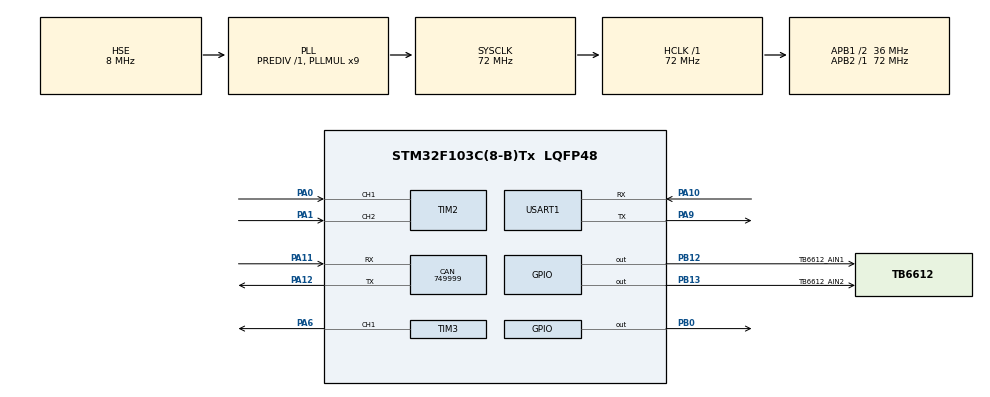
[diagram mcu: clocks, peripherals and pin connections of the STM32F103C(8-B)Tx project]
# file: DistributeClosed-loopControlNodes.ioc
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CAN.CalculateBaudRate=749999
CAN.CalculateTimeBit=1333
CAN.CalculateTimeQuantum=444.44444444444446
Mcu.Family=STM32F1
Mcu.Name=STM32F103C(8-B)Tx
Mcu.Package=LQFP48
NVIC.PriorityGroup=NVIC_PRIORITYGROUP_4
NVIC.USART1_IRQn=true\:0\:0\:false\:false\:true\:true\:true\:true
PA0-WKUP.GPIO_PuPd=GPIO_PULLUP
PA0-WKUP.Signal=S_TIM2_CH1_ETR
PA1.GPIO_PuPd=GPIO_PULLUP
PA1.Signal=S_TIM2_CH2
PA10.Mode=Asynchronous
PA10.Signal=USART1_RX
PA11.Mode=CAN_Activate
PA11.Signal=CAN_RX
PA12.Mode=CAN_Activate
PA12.Signal=CAN_TX
PA13.Mode=Serial_Wire
PA13.Signal=SYS_JTMS-SWDIO
PA14.Mode=Serial_Wire
PA14.Signal=SYS_JTCK-SWCLK
PA6.Signal=S_TIM3_CH1
PA9.Mode=Asynchronous
PA9.Signal=USART1_TX
PB0.Signal=GPIO_Output
PB12.GPIO_Label=TB6612_AIN1
PB12.Signal=GPIO_Output
PB13.GPIO_Label=TB6612_AIN2
PB13.Signal=GPIO_Output
PD0-OSC_IN.Mode=HSE-External-Oscillator
PD0-OSC_IN.Signal=RCC_OSC_IN
PD1-OSC_OUT.Mode=HSE-External-Oscillator
PD1-OSC_OUT.Signal=RCC_OSC_OUT
ProjectManager.HeapSize=0x200
ProjectManager.StackSize=0x400
ProjectManager.TargetToolchain=MDK-ARM V5.32
RCC.AHBFreq_Value=72000000
RCC.APB1CLKDivider=RCC_HCLK_DIV2
RCC.APB1Freq_Value=36000000
RCC.APB1TimFreq_Value=72000000
RCC.APB2Freq_Value=72000000
RCC.APB2TimFreq_Value=72000000
RCC.HCLKFreq_Value=72000000
RCC.PLLMUL=RCC_PLL_MUL9
RCC.PLLSourceVirtual=RCC_PLLSOURCE_HSE
RCC.SYSCLKFreq_VALUE=72000000
RCC.SYSCLKSource=RCC_SYSCLKSOURCE_PLLCLK
RCC.USBFreq_Value=72000000
SH.S_TIM2_CH1_ETR.0=TIM2_CH1,Encoder_Interface
SH.S_TIM2_CH2.0=TIM2_CH2,Encoder_Interface
SH.S_TIM3_CH1.0=TIM3_CH1,PWM Generation1 CH1
TIM2.EncoderMode=TIM_ENCODERMODE_TI12
TIM2.IC1Filter=6
TIM2.IC2Filter=10
TIM3.AutoReloadPreload=TIM_AUTORELOAD_PRELOAD_ENABLE
TIM3.Channel-PWM\ Generation1\ CH1=TIM_CHANNEL_1
TIM3.Period=1799
TIM3.Prescaler=3
USART1.VirtualMode=VM_ASYNC
VP_TIM3_VS_ClockSourceINT.Mode=Internal
board=custom

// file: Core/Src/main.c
/* USER CODE BEGIN Header */
/**
  ******************************************************************************
  * @file           : main.c
  * @brief          : Main program body
  ******************************************************************************
  * @attention
  *
  * Copyright (c) 2026 STMicroelectronics.
  * All rights reserved.
  *
  * This software is licensed under terms that can be found in the LICENSE file
  * in the root directory of this software component.
  * If no LICENSE file comes with this software, it is provided AS-IS.
  *
  ******************************************************************************
  */
/* USER CODE END Header */
#include "main.h"
#include "can.h"
#include "tim.h"
#include "usart.h"
#include "gpio.h"

/* USER CODE BEGIN Includes */
#include <stdio.h>
#include "pid.h"
#include "encoder.h"
/* USER CODE END Includes */

/* USER CODE BEGIN PV */

PID_InitTypeDef hpid = {0};

uint8_t Rx_byte;
char Rx_USART1_cmd[25];
uint8_t Rx_str_index = 0;
float target_speed = 0.0f;
int8_t NewCmd_flag = 0;
float temp_kp = 0.0f;
float temp_ki = 0.0f;
float temp_kd = 0.0f;

/* USER CODE END PV */

void SystemClock_Config(void);
/* USER CODE BEGIN PFP */

void App_OnBoardLED_Init(void);
void HAL_UART_RxCpltCallback(UART_HandleTypeDef *huart);

/* USER CODE END PFP */

/* USER CODE BEGIN 0 */

// printf函数重定向
int fputc(int ch, FILE *f)
{
	HAL_UART_Transmit(&huart1, (uint8_t *)&ch, 1, HAL_MAX_DELAY);
	return ch;
}

/* USER CODE END 0 */

int main(void)
{

  /* MCU Configuration--------------------------------------------------------*/

  /* Reset of all peripherals, Initializes the Flash interface and the Systick. */
  HAL_Init();

  /* Configure the system clock */
  SystemClock_Config();

  /* Initialize all configured peripherals */
  MX_GPIO_Init();
  MX_TIM2_Init();
  MX_TIM3_Init();
  MX_USART1_UART_Init();
  MX_CAN_Init();
  /* USER CODE BEGIN 2 */
	App_OnBoardLED_Init();
	PID_Init(&hpid);
	HAL_TIM_PWM_Start(&htim3, TIM_CHANNEL_1);
	HAL_TIM_Encoder_Start(&htim2, TIM_CHANNEL_ALL);
  /* USER CODE END 2 */

  /* Infinite loop */
  /* USER CODE BEGIN WHILE */
	HAL_UART_Receive_IT(&huart1, &Rx_byte, 1);
	printf("#SYSTEM IS READY\r\nSet target speed need print:SET [target speed]\r\nSet PID need print:KP [Kp] KI [Ki] KD [Kd]\r\n");
	uint32_t last_time = 0;
  while (1)
  {
		/* 采样周期 */
		if(HAL_GetTick() - last_time >= (uint32_t)TIME_SIMPLE)
		{
			// #0.更新last_time
			last_time = HAL_GetTick();

			// #1.由编码器得到当前速度
			float current_speed = GetCurrent_Speed(4, 11, 103);

			// #2.更新当前速度
			PID_UpdateCurrent_Speed(&hpid, current_speed);
			printf("%.2f,%.2f\r\n", hpid.Current_Speed, hpid.Target_Speed);

			/* 可以加一个低通滤波 */

			// #3.主控板是否发送新命令（中断）
			if(NewCmd_flag == 1)
			{
				PID_SetTarget_Speed(&hpid, target_speed);
				printf("#TARGET SPEED SET SUCCESS.\r\n");
				NewCmd_flag = 0;
			}
			else if(NewCmd_flag == 2)
			{
				PID_SetPID(&hpid, temp_kp, temp_ki, temp_kd);
				printf("#PID SET SUCCESS.\r\n");
				NewCmd_flag = 0;
			}
			else if(NewCmd_flag == -1)
			{
				printf("#ERROR!\r\n");
				NewCmd_flag = 0;
			}

			// #4.计算PWM,，判断是否需要改变电机方向
			int16_t PWM = PID_Calc(&hpid);

			if(PWM >= 0.0f)
			{
				HAL_GPIO_WritePin(GPIOB, GPIO_PIN_12, GPIO_PIN_SET);
				HAL_GPIO_WritePin(GPIOB, GPIO_PIN_13, GPIO_PIN_RESET);
				HAL_GPIO_WritePin(GPIOC, GPIO_PIN_13, GPIO_PIN_RESET);
			}
			else
			{
				PWM = -PWM;
				HAL_GPIO_WritePin(GPIOB, GPIO_PIN_12, GPIO_PIN_RESET);
				HAL_GPIO_WritePin(GPIOB, GPIO_PIN_13, GPIO_PIN_SET);
				HAL_GPIO_WritePin(GPIOC, GPIO_PIN_13, GPIO_PIN_SET);
			}

			// #5.更新PWM
			__HAL_TIM_SET_COMPARE(&htim3, TIM_CHANNEL_1, PWM);
		}
    /* USER CODE END WHILE */

  }
}

void SystemClock_Config(void)
{
  RCC_OscInitTypeDef RCC_OscInitStruct = {0};
  RCC_ClkInitTypeDef RCC_ClkInitStruct = {0};

  /** Initializes the RCC Oscillators according to the specified parameters
  * in the RCC_OscInitTypeDef structure.
  */
  RCC_OscInitStruct.OscillatorType = RCC_OSCILLATORTYPE_HSE;
  RCC_OscInitStruct.HSEState = RCC_HSE_ON;
  RCC_OscInitStruct.HSEPredivValue = RCC_HSE_PREDIV_DIV1;
  RCC_OscInitStruct.HSIState = RCC_HSI_ON;
  RCC_OscInitStruct.PLL.PLLState = RCC_PLL_ON;
  RCC_OscInitStruct.PLL.PLLSource = RCC_PLLSOURCE_HSE;
  RCC_OscInitStruct.PLL.PLLMUL = RCC_PLL_MUL9;
  if (HAL_RCC_OscConfig(&RCC_OscInitStruct) != HAL_OK)
  {
    Error_Handler();
  }

  /** Initializes the CPU, AHB and APB buses clocks
  */
  RCC_ClkInitStruct.ClockType = RCC_CLOCKTYPE_HCLK|RCC_CLOCKTYPE_SYSCLK
                              |RCC_CLOCKTYPE_PCLK1|RCC_CLOCKTYPE_PCLK2;
  RCC_ClkInitStruct.SYSCLKSource = RCC_SYSCLKSOURCE_PLLCLK;
  RCC_ClkInitStruct.AHBCLKDivider = RCC_SYSCLK_DIV1;
  RCC_ClkInitStruct.APB1CLKDivider = RCC_HCLK_DIV2;
  RCC_ClkInitStruct.APB2CLKDivider = RCC_HCLK_DIV1;

  if (HAL_RCC_ClockConfig(&RCC_ClkInitStruct, FLASH_LATENCY_2) != HAL_OK)
  {
    Error_Handler();
  }
}

/* USER CODE BEGIN 4 */
void App_OnBoardLED_Init(void)
{
	__HAL_RCC_GPIOC_CLK_ENABLE();

	GPIO_InitTypeDef GPIO_InitStruct = {0};

	GPIO_InitStruct.Pin = GPIO_PIN_13;
	GPIO_InitStruct.Mode = GPIO_MODE_OUTPUT_OD;
	GPIO_InitStruct.Pull = GPIO_NOPULL;
	GPIO_InitStruct.Speed = GPIO_SPEED_LOW;

	HAL_GPIO_Init(GPIOC, &GPIO_InitStruct);

	HAL_GPIO_WritePin(GPIOC, GPIO_PIN_13, GPIO_PIN_SET);
}

void HAL_UART_RxCpltCallback(UART_HandleTypeDef *huart)
{
	if(huart->Instance == USART1)
	{
		Rx_USART1_cmd[Rx_str_index++] = Rx_byte;
		if(Rx_byte == '\r' || Rx_byte == '\n' || Rx_str_index == 24)
		{
			Rx_USART1_cmd[Rx_str_index] = '\0';

			if(sscanf(Rx_USART1_cmd, "SET %f", &target_speed) == 1)
			{
				NewCmd_flag = 1;
			}
			else if(sscanf(Rx_USART1_cmd, "KP %f KI %f KD %f", &temp_kp, &temp_ki, &temp_kd) == 3)
			{
				NewCmd_flag = 2;
			}
			else
			{
				NewCmd_flag = -1;
			}

			Rx_str_index = 0;
			Rx_USART1_cmd[0] = '\0';
		}
		HAL_UART_Receive_IT(&huart1, &Rx_byte, 1);
	}
}
/* USER CODE END 4 */

void Error_Handler(void)
{
  __disable_irq();
  while (1)
  {
  }
}
